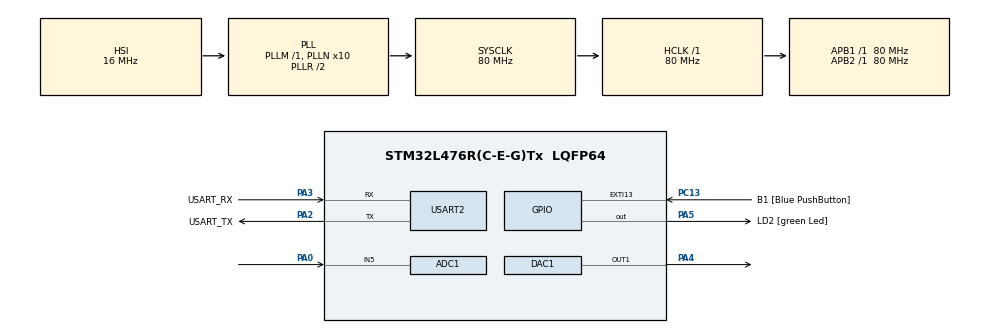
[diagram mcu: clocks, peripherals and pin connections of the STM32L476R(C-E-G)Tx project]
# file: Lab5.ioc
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ADC1.Channel-0\#ChannelRegularConversion=ADC_CHANNEL_5
ADC1.DMAContinuousRequests=ENABLE
ADC1.ExternalTrigConv=ADC_EXTERNALTRIG_T6_TRGO
ADC1.NbrOfConversionFlag=1
ADC1.OffsetNumber-0\#ChannelRegularConversion=ADC_OFFSET_NONE
ADC1.Rank-0\#ChannelRegularConversion=1
ADC1.SamplingTime-0\#ChannelRegularConversion=ADC_SAMPLETIME_2CYCLES_5
ADC1.master=1
DAC1.DAC_Trigger-DAC_OUT1=DAC_TRIGGER_T6_TRGO
Dma.ADC1.0.Direction=DMA_PERIPH_TO_MEMORY
Dma.ADC1.0.Instance=DMA1_Channel1
Dma.ADC1.0.MemDataAlignment=DMA_MDATAALIGN_WORD
Dma.ADC1.0.MemInc=DMA_MINC_ENABLE
Dma.ADC1.0.Mode=DMA_CIRCULAR
Dma.ADC1.0.PeriphDataAlignment=DMA_PDATAALIGN_HALFWORD
Dma.ADC1.0.PeriphInc=DMA_PINC_DISABLE
Dma.ADC1.0.Priority=DMA_PRIORITY_LOW
Dma.DAC_CH1.1.Direction=DMA_MEMORY_TO_PERIPH
Dma.DAC_CH1.1.Instance=DMA1_Channel3
Dma.DAC_CH1.1.MemDataAlignment=DMA_MDATAALIGN_WORD
Dma.DAC_CH1.1.MemInc=DMA_MINC_ENABLE
Dma.DAC_CH1.1.Mode=DMA_CIRCULAR
Dma.DAC_CH1.1.PeriphDataAlignment=DMA_PDATAALIGN_HALFWORD
Dma.DAC_CH1.1.PeriphInc=DMA_PINC_DISABLE
Dma.DAC_CH1.1.Priority=DMA_PRIORITY_LOW
Dma.Request0=ADC1
Dma.Request1=DAC_CH1
Mcu.Family=STM32L4
Mcu.Name=STM32L476R(C-E-G)Tx
Mcu.Package=LQFP64
NVIC.DMA1_Channel1_IRQn=true\:0\:0\:false\:false\:true\:false\:true\:true
NVIC.DMA1_Channel3_IRQn=true\:0\:0\:false\:false\:true\:false\:true\:true
NVIC.PriorityGroup=NVIC_PRIORITYGROUP_4
PA0.Signal=ADCx_IN5
PA13\ (JTMS-SWDIO).GPIO_Label=TMS
PA13\ (JTMS-SWDIO).Mode=Serial_Wire
PA13\ (JTMS-SWDIO).Signal=SYS_JTMS-SWDIO
PA14\ (JTCK-SWCLK).GPIO_Label=TCK
PA14\ (JTCK-SWCLK).Mode=Serial_Wire
PA14\ (JTCK-SWCLK).Signal=SYS_JTCK-SWCLK
PA2.GPIO_Label=USART_TX
PA2.GPIO_Mode=GPIO_MODE_AF_PP
PA2.GPIO_PuPd=GPIO_NOPULL
PA2.GPIO_Speed=GPIO_SPEED_FREQ_VERY_HIGH
PA2.Mode=Asynchronous
PA2.Signal=USART2_TX
PA3.GPIO_Label=USART_RX
PA3.GPIO_Mode=GPIO_MODE_AF_PP
PA3.GPIO_PuPd=GPIO_NOPULL
PA3.GPIO_Speed=GPIO_SPEED_FREQ_VERY_HIGH
PA3.Mode=Asynchronous
PA3.Signal=USART2_RX
PA4.Signal=COMP_DAC11_group
PA5.GPIO_Label=LD2 [green Led]
PA5.GPIO_ModeDefaultOutputPP=GPIO_MODE_OUTPUT_PP
PA5.GPIO_PuPd=GPIO_NOPULL
PA5.GPIO_Speed=GPIO_SPEED_FREQ_LOW
PA5.Signal=GPIO_Output
PB3\ (JTDO-TRACESWO).GPIO_Label=SWO
PB3\ (JTDO-TRACESWO).Signal=SYS_JTDO-SWO
PC13.GPIO_Label=B1 [Blue PushButton]
PC13.GPIO_ModeDefaultEXTI=GPIO_MODE_IT_FALLING
PC13.GPIO_PuPd=GPIO_NOPULL
PC13.Signal=GPXTI13
PC14-OSC32_IN\ (PC14).Mode=LSE-External-Oscillator
PC14-OSC32_IN\ (PC14).Signal=RCC_OSC32_IN
PC15-OSC32_OUT\ (PC15).Mode=LSE-External-Oscillator
PC15-OSC32_OUT\ (PC15).Signal=RCC_OSC32_OUT
PH0-OSC_IN\ (PH0).Signal=RCC_OSC_IN
PH1-OSC_OUT\ (PH1).Signal=RCC_OSC_OUT
ProjectManager.HeapSize=0x200
ProjectManager.StackSize=0x400
ProjectManager.TargetToolchain=STM32CubeIDE
RCC.ADCFreq_Value=64000000
RCC.AHBFreq_Value=80000000
RCC.APB1Freq_Value=80000000
RCC.APB1TimFreq_Value=80000000
RCC.APB2Freq_Value=80000000
RCC.APB2TimFreq_Value=80000000
RCC.CortexFreq_Value=80000000
RCC.HCLKFreq_Value=80000000
RCC.HSE_VALUE=8000000
RCC.HSI_VALUE=16000000
RCC.MSI_VALUE=4000000
RCC.PLLN=10
RCC.PLLSourceVirtual=RCC_PLLSOURCE_HSI
RCC.PREFETCH_ENABLE=1
RCC.SYSCLKFreq_VALUE=80000000
RCC.SYSCLKSource=RCC_SYSCLKSOURCE_PLLCLK
RCC.USBFreq_Value=64000000
RCC.VCOOutputFreq_Value=160000000
SH.ADCx_IN5.0=ADC1_IN5,IN5-Single-Ended
SH.COMP_DAC11_group.0=DAC1_OUT1,DAC_OUT1
TIM6.Period=4
TIM6.Prescaler=79
TIM6.TIM_MasterOutputTrigger=TIM_TRGO_UPDATE
USART2.VirtualMode-Asynchronous=VM_ASYNC
VP_TIM6_VS_ClockSourceINT.Mode=Enable_Timer
board=NUCLEO-L476RG

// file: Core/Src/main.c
/* USER CODE BEGIN Header */
/**
  ******************************************************************************
  * @file           : main.c
  * @brief          : Main program body
  ******************************************************************************
  * @attention
  *
  * Copyright (c) 2024 STMicroelectronics.
  * All rights reserved.
  *
  * This software is licensed under terms that can be found in the LICENSE file
  * in the root directory of this software component.
  * If no LICENSE file comes with this software, it is provided AS-IS.
  *
  ******************************************************************************
  */
/* USER CODE END Header */
#include "main.h"

/* USER CODE BEGIN PD */
#define BUFFER_HALFSIZE 500
#define BUFFER_SIZE 1000
#define MIDPOINT 2048
/* USER CODE END PD */

ADC_HandleTypeDef hadc1;
DMA_HandleTypeDef hdma_adc1;

DAC_HandleTypeDef hdac1;
DMA_HandleTypeDef hdma_dac_ch1;

TIM_HandleTypeDef htim6;

UART_HandleTypeDef huart2;

/* USER CODE BEGIN PV */
uint32_t adc_buffer[BUFFER_SIZE];
uint32_t dac_buffer[BUFFER_SIZE];
/* USER CODE END PV */

void SystemClock_Config(void);
static void MX_GPIO_Init(void);
static void MX_DMA_Init(void);
static void MX_USART2_UART_Init(void);
static void MX_ADC1_Init(void);
static void MX_DAC1_Init(void);
static void MX_TIM6_Init(void);

int main(void)
{

  /* MCU Configuration--------------------------------------------------------*/

  /* Reset of all peripherals, Initializes the Flash interface and the Systick. */
  HAL_Init();

  /* Configure the system clock */
  SystemClock_Config();

  /* Initialize all configured peripherals */
  MX_GPIO_Init();
  MX_DMA_Init();
  MX_USART2_UART_Init();
  MX_ADC1_Init();
  MX_DAC1_Init();
  MX_TIM6_Init();
  /* USER CODE BEGIN 2 */
  HAL_TIM_Base_Start(&htim6);
  HAL_ADC_Start_DMA(&hadc1, adc_buffer, BUFFER_SIZE);
  HAL_DAC_Start_DMA(&hdac1, DAC_CHANNEL_1, dac_buffer, BUFFER_SIZE,
  DAC_ALIGN_12B_R);
  /* USER CODE END 2 */

  /* Infinite loop */
  while (1)
  {

  }
}

void SystemClock_Config(void)
{
  RCC_OscInitTypeDef RCC_OscInitStruct = {0};
  RCC_ClkInitTypeDef RCC_ClkInitStruct = {0};

  /** Configure the main internal regulator output voltage
  */
  if (HAL_PWREx_ControlVoltageScaling(PWR_REGULATOR_VOLTAGE_SCALE1) != HAL_OK)
  {
    Error_Handler();
  }

  /** Initializes the RCC Oscillators according to the specified parameters
  * in the RCC_OscInitTypeDef structure.
  */
  RCC_OscInitStruct.OscillatorType = RCC_OSCILLATORTYPE_HSI;
  RCC_OscInitStruct.HSIState = RCC_HSI_ON;
  RCC_OscInitStruct.HSICalibrationValue = RCC_HSICALIBRATION_DEFAULT;
  RCC_OscInitStruct.PLL.PLLState = RCC_PLL_ON;
  RCC_OscInitStruct.PLL.PLLSource = RCC_PLLSOURCE_HSI;
  RCC_OscInitStruct.PLL.PLLM = 1;
  RCC_OscInitStruct.PLL.PLLN = 10;
  RCC_OscInitStruct.PLL.PLLP = RCC_PLLP_DIV7;
  RCC_OscInitStruct.PLL.PLLQ = RCC_PLLQ_DIV2;
  RCC_OscInitStruct.PLL.PLLR = RCC_PLLR_DIV2;
  if (HAL_RCC_OscConfig(&RCC_OscInitStruct) != HAL_OK)
  {
    Error_Handler();
  }

  /** Initializes the CPU, AHB and APB buses clocks
  */
  RCC_ClkInitStruct.ClockType = RCC_CLOCKTYPE_HCLK|RCC_CLOCKTYPE_SYSCLK
                              |RCC_CLOCKTYPE_PCLK1|RCC_CLOCKTYPE_PCLK2;
  RCC_ClkInitStruct.SYSCLKSource = RCC_SYSCLKSOURCE_PLLCLK;
  RCC_ClkInitStruct.AHBCLKDivider = RCC_SYSCLK_DIV1;
  RCC_ClkInitStruct.APB1CLKDivider = RCC_HCLK_DIV1;
  RCC_ClkInitStruct.APB2CLKDivider = RCC_HCLK_DIV1;

  if (HAL_RCC_ClockConfig(&RCC_ClkInitStruct, FLASH_LATENCY_4) != HAL_OK)
  {
    Error_Handler();
  }
}

static void MX_ADC1_Init(void)
{

  ADC_MultiModeTypeDef multimode = {0};
  ADC_ChannelConfTypeDef sConfig = {0};

  /** Common config
  */
  hadc1.Instance = ADC1;
  hadc1.Init.ClockPrescaler = ADC_CLOCK_ASYNC_DIV1;
  hadc1.Init.Resolution = ADC_RESOLUTION_12B;
  hadc1.Init.DataAlign = ADC_DATAALIGN_RIGHT;
  hadc1.Init.ScanConvMode = ADC_SCAN_DISABLE;
  hadc1.Init.EOCSelection = ADC_EOC_SINGLE_CONV;
  hadc1.Init.LowPowerAutoWait = DISABLE;
  hadc1.Init.ContinuousConvMode = DISABLE;
  hadc1.Init.NbrOfConversion = 1;
  hadc1.Init.DiscontinuousConvMode = DISABLE;
  hadc1.Init.ExternalTrigConv = ADC_EXTERNALTRIG_T6_TRGO;
  hadc1.Init.ExternalTrigConvEdge = ADC_EXTERNALTRIGCONVEDGE_RISING;
  hadc1.Init.DMAContinuousRequests = ENABLE;
  hadc1.Init.Overrun = ADC_OVR_DATA_PRESERVED;
  hadc1.Init.OversamplingMode = DISABLE;
  if (HAL_ADC_Init(&hadc1) != HAL_OK)
  {
    Error_Handler();
  }

  /** Configure the ADC multi-mode
  */
  multimode.Mode = ADC_MODE_INDEPENDENT;
  if (HAL_ADCEx_MultiModeConfigChannel(&hadc1, &multimode) != HAL_OK)
  {
    Error_Handler();
  }

  /** Configure Regular Channel
  */
  sConfig.Channel = ADC_CHANNEL_5;
  sConfig.Rank = ADC_REGULAR_RANK_1;
  sConfig.SamplingTime = ADC_SAMPLETIME_2CYCLES_5;
  sConfig.SingleDiff = ADC_SINGLE_ENDED;
  sConfig.OffsetNumber = ADC_OFFSET_NONE;
  sConfig.Offset = 0;
  if (HAL_ADC_ConfigChannel(&hadc1, &sConfig) != HAL_OK)
  {
    Error_Handler();
  }

}

static void MX_DAC1_Init(void)
{

  DAC_ChannelConfTypeDef sConfig = {0};

  /** DAC Initialization
  */
  hdac1.Instance = DAC1;
  if (HAL_DAC_Init(&hdac1) != HAL_OK)
  {
    Error_Handler();
  }

  /** DAC channel OUT1 config
  */
  sConfig.DAC_SampleAndHold = DAC_SAMPLEANDHOLD_DISABLE;
  sConfig.DAC_Trigger = DAC_TRIGGER_T6_TRGO;
  sConfig.DAC_OutputBuffer = DAC_OUTPUTBUFFER_ENABLE;
  sConfig.DAC_ConnectOnChipPeripheral = DAC_CHIPCONNECT_DISABLE;
  sConfig.DAC_UserTrimming = DAC_TRIMMING_FACTORY;
  if (HAL_DAC_ConfigChannel(&hdac1, &sConfig, DAC_CHANNEL_1) != HAL_OK)
  {
    Error_Handler();
  }

}

static void MX_TIM6_Init(void)
{

  TIM_MasterConfigTypeDef sMasterConfig = {0};

  htim6.Instance = TIM6;
  htim6.Init.Prescaler = 79;
  htim6.Init.CounterMode = TIM_COUNTERMODE_UP;
  htim6.Init.Period = 4;
  htim6.Init.AutoReloadPreload = TIM_AUTORELOAD_PRELOAD_DISABLE;
  if (HAL_TIM_Base_Init(&htim6) != HAL_OK)
  {
    Error_Handler();
  }
  sMasterConfig.MasterOutputTrigger = TIM_TRGO_UPDATE;
  sMasterConfig.MasterSlaveMode = TIM_MASTERSLAVEMODE_DISABLE;
  if (HAL_TIMEx_MasterConfigSynchronization(&htim6, &sMasterConfig) != HAL_OK)
  {
    Error_Handler();
  }

}

static void MX_USART2_UART_Init(void)
{

  huart2.Instance = USART2;
  huart2.Init.BaudRate = 115200;
  huart2.Init.WordLength = UART_WORDLENGTH_8B;
  huart2.Init.StopBits = UART_STOPBITS_1;
  huart2.Init.Parity = UART_PARITY_NONE;
  huart2.Init.Mode = UART_MODE_TX_RX;
  huart2.Init.HwFlowCtl = UART_HWCONTROL_NONE;
  huart2.Init.OverSampling = UART_OVERSAMPLING_16;
  huart2.Init.OneBitSampling = UART_ONE_BIT_SAMPLE_DISABLE;
  huart2.AdvancedInit.AdvFeatureInit = UART_ADVFEATURE_NO_INIT;
  if (HAL_UART_Init(&huart2) != HAL_OK)
  {
    Error_Handler();
  }

}

static void MX_DMA_Init(void)
{

  /* DMA controller clock enable */
  __HAL_RCC_DMA1_CLK_ENABLE();

  /* DMA interrupt init */
  /* DMA1_Channel1_IRQn interrupt configuration */
  HAL_NVIC_SetPriority(DMA1_Channel1_IRQn, 0, 0);
  HAL_NVIC_EnableIRQ(DMA1_Channel1_IRQn);
  /* DMA1_Channel3_IRQn interrupt configuration */
  HAL_NVIC_SetPriority(DMA1_Channel3_IRQn, 0, 0);
  HAL_NVIC_EnableIRQ(DMA1_Channel3_IRQn);

}

static void MX_GPIO_Init(void)
{
  GPIO_InitTypeDef GPIO_InitStruct = {0};

  /* GPIO Ports Clock Enable */
  __HAL_RCC_GPIOC_CLK_ENABLE();
  __HAL_RCC_GPIOH_CLK_ENABLE();
  __HAL_RCC_GPIOA_CLK_ENABLE();
  __HAL_RCC_GPIOB_CLK_ENABLE();

  /*Configure GPIO pin Output Level */
  HAL_GPIO_WritePin(LD2_GPIO_Port, LD2_Pin, GPIO_PIN_RESET);

  /*Configure GPIO pin : B1_Pin */
  GPIO_InitStruct.Pin = B1_Pin;
  GPIO_InitStruct.Mode = GPIO_MODE_IT_FALLING;
  GPIO_InitStruct.Pull = GPIO_NOPULL;
  HAL_GPIO_Init(B1_GPIO_Port, &GPIO_InitStruct);

  /*Configure GPIO pin : LD2_Pin */
  GPIO_InitStruct.Pin = LD2_Pin;
  GPIO_InitStruct.Mode = GPIO_MODE_OUTPUT_PP;
  GPIO_InitStruct.Pull = GPIO_NOPULL;
  GPIO_InitStruct.Speed = GPIO_SPEED_FREQ_LOW;
  HAL_GPIO_Init(LD2_GPIO_Port, &GPIO_InitStruct);

}

/* USER CODE BEGIN 4 */
#define MIDPOINT 2048  // 12-bit ADC midpoint for full range (0 to 4095)

void HAL_ADC_ConvHalfCpltCallback(ADC_HandleTypeDef *hadc)
{
    for (int n = 0; n < BUFFER_HALFSIZE; n++)
    {
        uint32_t adc_value = adc_buffer[n];
        // Invert the sine wave value around the midpoint
        dac_buffer[n] = MIDPOINT + (MIDPOINT - adc_value);
    }
}

void HAL_ADC_ConvCpltCallback(ADC_HandleTypeDef *hadc)
{
    for (int n = BUFFER_HALFSIZE; n < BUFFER_SIZE; n++)
    {
        uint32_t adc_value = adc_buffer[n];
        // Invert the sine wave value around the midpoint
        dac_buffer[n] = MIDPOINT + (MIDPOINT - adc_value);
    }
}
/* USER CODE END 4 */

void Error_Handler(void)
{
  __disable_irq();
  while (1)
  {
  }
}
